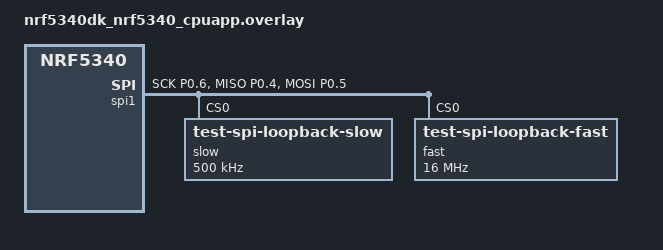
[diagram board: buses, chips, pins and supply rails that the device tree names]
/*
 * Copyright (c) 2026 Nordic Semiconductor ASA
 *
 * SPDX-License-Identifier: Apache-2.0
 */

&pinctrl {
	spi1_default: spi1_default {
		group1 {
			psels = <NRF_PSEL(SPIM_SCK, 0, 6)>,
				<NRF_PSEL(SPIM_MISO, 0, 4)>,
				<NRF_PSEL(SPIM_MOSI, 0, 5)>;
		};
	};

	spi1_sleep: spi1_sleep {
		group1 {
			psels = <NRF_PSEL(SPIM_SCK, 0, 6)>,
				<NRF_PSEL(SPIM_MISO, 0, 4)>,
				<NRF_PSEL(SPIM_MOSI, 0, 5)>;
			low-power-enable;
		};
	};
};

&spi1 {
	status = "okay";
	overrun-character = <0x00>;
	rx-delay = <1>;
	pinctrl-0 = <&spi1_default>;
	pinctrl-1 = <&spi1_sleep>;
	pinctrl-names = "default", "sleep";
	zephyr,pm-device-runtime-auto;

	slow@0 {
		compatible = "test-spi-loopback-slow";
		reg = <0>;
		spi-max-frequency = <500000>;
	};

	fast@0 {
		compatible = "test-spi-loopback-fast";
		reg = <0>;
		spi-max-frequency = <16000000>;
	};
};

&gpio0 {
	status = "okay";
};
